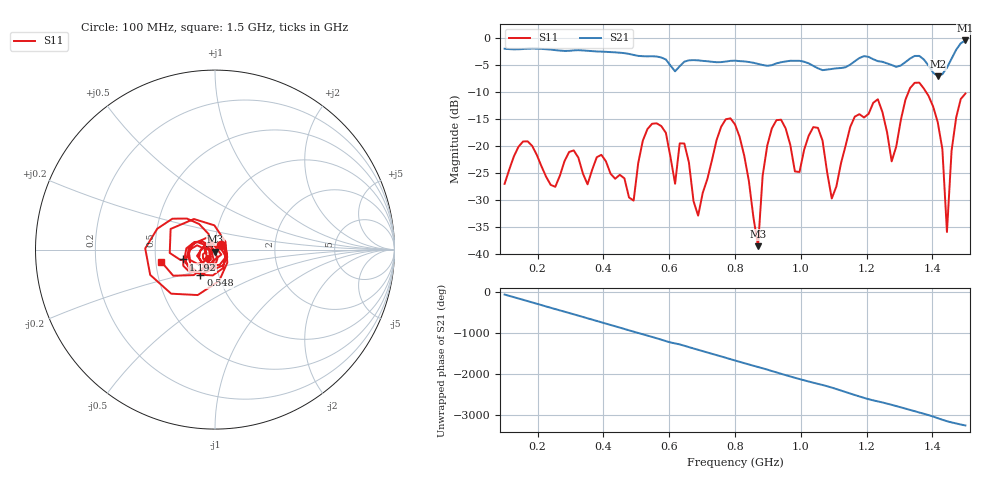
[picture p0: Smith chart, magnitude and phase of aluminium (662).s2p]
! NanoVNA-App
! Date: 2025-09-25 15:00:26
! Start: 100MHz Stop: 1,5GHz Points: 101
! S-Parameter data: F S11 S21 S12 S22
# Hz S RI R 50
!  Frequency  S11_Real  S11_Imag  S21_Real  S21_Imag  S12_Real  S12_Imag  S22_Real  S22_Imag
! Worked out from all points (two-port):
!   101 points, 100 MHz to 1.5 GHz, reference 50 ohm
!   highest |S21| = -0.39 dB at 1.5 GHz (marker M1); lowest = -7.0 dB at 1.416 GHz (marker M2)
!   |S21| within 3 dB of the highest: start of sweep to 564.1 MHz; 1.461 GHz to end of sweep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
!   lowest |S11| = -38.5 dB at 870 MHz (marker M3), VSWR 1.02, Z = 50.2 - j1.18 ohm
!   |S11| at or under -10 dB: start of sweep to 1.327 GHz; 1.381 GHz to end of sweep
!   S12 and S22 are empty: the file has one direction only
!   S11 on the Smith chart (normalised r, x): 100 MHz: 1.07, +0.06; 548 MHz: 0.82, -0.24; 1.192 GHz: 0.70, -0.08; 1.5 GHz: 0.53, -0.08
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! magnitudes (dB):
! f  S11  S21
! 100 MHz  -27.0  -1.9
! 156 MHz  -19.1  -2.0
! 338 MHz  -25.1  -2.2
! 492 MHz  -30.1  -3.1
! 548 MHz  -15.8  -3.3
! 576 MHz  -16.2  -3.5
! 646 MHz  -19.5  -4.3
! 688 MHz  -32.8  -4.1
! 800 MHz  -15.9  -4.1
! 870 MHz  -38.5  -4.7
! 912 MHz  -16.7  -5.0
! 996 MHz  -24.8  -4.2
! 1.038 GHz  -16.4  -5.1
! 1.094 GHz  -29.7  -5.7
! 1.192 GHz  -14.7  -3.3
! 1.234 GHz  -11.3  -4.2
! 1.276 GHz  -22.8  -4.9
! 1.346 GHz  -8.2  -3.3
! 1.416 GHz  -15.5  -7.0
! 1.444 GHz  -35.9  -5.4
! 1.458 GHz  -20.8  -3.8
! 1.5 GHz  -10.2  -0.4
